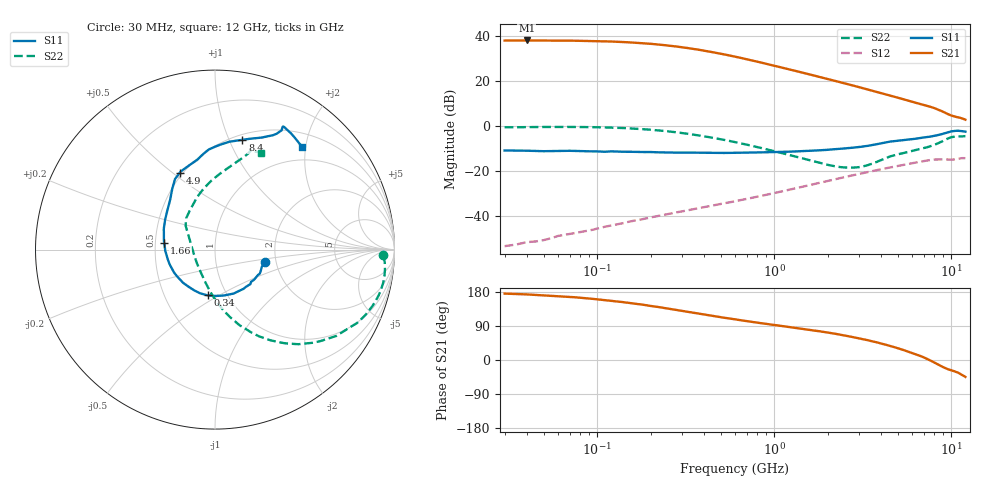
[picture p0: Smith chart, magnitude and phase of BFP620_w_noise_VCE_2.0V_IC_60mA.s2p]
! Infineon Technologies  Discrete & RF Semiconductors
! BFP620
! VCE =  2.0 V,  IC =  60 mA
! Common Emitter S-Parameters:  Nov 2015
# GHz  S  MA  R  50
!  f  S11  S21  S12  S22
! GHz  MAG  ANG  MAG  ANG  MAG  ANG  MAG  ANG
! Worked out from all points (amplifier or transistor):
!   239 points, 30 MHz to 12 GHz, reference 50 ohm
!   highest |S21| = 37.9 dB at 40 MHz (marker M1)
!   |S21| within 3 dB of that: start of sweep to 301.3 MHz
!   unconditionally stable (mu >= 1): 1.836 GHz to end of sweep
!   at 300 MHz: K = 0.52, MSG = 36.3 dB, |S12| = -37.8 dB
!   at 1.88 GHz: K = 1.00, MAG = 22.8 dB, |S12| = -24.8 dB
!   at 12 GHz: K = 1.09, MAG = 6.7 dB, |S12| = -14.2 dB
!   lowest NFmin = 1.69 dB at 450 MHz
!   S11 on the Smith chart (normalised r, x): 30 MHz: 1.75, -0.26; 340 MHz: 0.82, -0.45; 1.66 GHz: 0.56, +0.04; 4.9 GHz: 0.48, +0.53; 8.4 GHz: 0.55, +1.12; 12 GHz: 0.73, +1.93
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0.03  0.2879 -13.5  77.73 175.2  0.0022 103.0  0.9377 -2.0
0.04  0.2845 -17.4  78.14 173.1  0.0027 95.4  0.9485 -4.3
0.07  0.2832 -28.2  77.53 166.6  0.0041 87.4  0.9551 -11.2
0.085  0.277 -32.3  76.47 163.3  0.0047 84.7  0.9491 -14.5
0.11  0.2694 -41.9  74.85 158.1  0.0059 81.9  0.9316 -19.8
0.14  0.2697 -50.3  72.09 152.7  0.0071 79.2  0.9023 -25.5
0.175  0.2663 -60.3  68.36 147.0  0.0085 76.6  0.8578 -31.3
0.2  0.266 -67.1  65.92 142.7  0.0095 75.2  0.829 -35.5
0.24  0.2606 -77.4  61.53 137.1  0.0109 73.6  0.7765 -41.1
0.3  0.258 -91.2  55.45 129.5  0.0129 71.9  0.7026 -48.6
0.34  0.2576 -98.7  51.67 125.4  0.0142 71.1  0.6564 -52.8
0.45  0.2552 -116.2  42.86 116.0  0.0175 69.6  0.5487 -62.5
0.6  0.2566 -134.0  34.18 107.0  0.0217 68.6  0.4408 -72.2
0.9  0.2629 -156.7  23.76 95.3  0.0301 67.4  0.3067 -86.1
1.2  0.2704 -171.4  18.08 87.4  0.0386 65.5  0.231 -97.1
1.64  0.2846 173.3  13.36 78.6  0.0509 62.1  0.1688 -113.2
1.66  0.2855 172.6  13.21 78.3  0.0515 61.9  0.167 -114.0
2.6  0.3242 149.0  8.427 63.1  0.0769 52.9  0.1204 -158.6
4.5  0.4522 119.5  4.727 37.0  0.1213 32.7  0.2122 140.6
4.9  0.4706 114.7  4.315 32.1  0.1292 28.6  0.2325 133.7
8.4  0.6308 76.0  2.316 -11.7  0.183 -9.4  0.4141 87.8
12  0.7505 49.8  1.381 -44.6  0.1945 -38.1  0.5983 64.5
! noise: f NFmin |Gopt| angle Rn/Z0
0.45  1.69  0.35  -167  0.1
0.9  1.7  0.38  -155  0.11
1.9  1.71  0.41  -139  0.13
2.4  1.74  0.41  -137  0.15
3.5  1.78  0.45  -106  0.27
5.5  2.08  0.46  -85  0.38
10  2.36  0.67  -42  1.41
